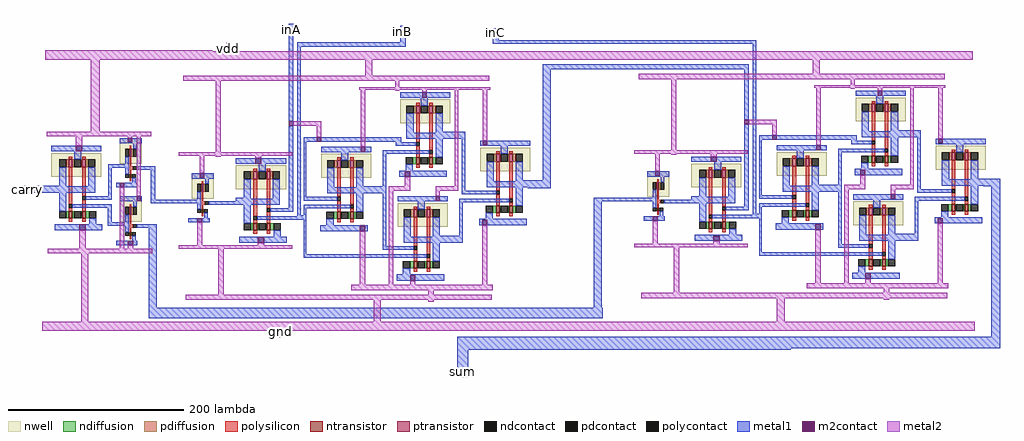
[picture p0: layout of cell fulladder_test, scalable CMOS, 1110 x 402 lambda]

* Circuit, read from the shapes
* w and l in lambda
.subckt fulladder_test carry gnd inA inB inC sum vdd
M1 n1 n2 carry VSUBS nfet w=8 l=4
M2 gnd n3 n1 VSUBS nfet w=8 l=4
M3 gnd n4 n2 VSUBS nfet w=4 l=2
M4 gnd n5 n3 VSUBS nfet w=4 l=2
M5 gnd n6 n5 VSUBS nfet w=4 l=2
M6 n7 inB n6 VSUBS nfet w=8 l=4
M7 gnd inA n7 VSUBS nfet w=8 l=4
M8 n8 inA gnd VSUBS nfet w=8 l=4
M9 n9 inB n8 VSUBS nfet w=8 l=4
M10 n10 n9 gnd VSUBS nfet w=8 l=4
M11 n11 inA gnd VSUBS nfet w=8 l=4
M12 n12 inB n10 VSUBS nfet w=8 l=4
M13 n13 n9 n11 VSUBS nfet w=8 l=4
M14 n14 n13 gnd VSUBS nfet w=8 l=4
M15 n15 n12 n14 VSUBS nfet w=8 l=4
M16 gnd n16 n4 VSUBS nfet w=4 l=2
M17 n17 inC n16 VSUBS nfet w=8 l=4
M18 gnd n15 n17 VSUBS nfet w=8 l=4
M19 n18 n15 gnd VSUBS nfet w=8 l=4
M20 n19 inC n18 VSUBS nfet w=8 l=4
M21 n20 n19 gnd VSUBS nfet w=8 l=4
M22 n21 n15 gnd VSUBS nfet w=8 l=4
M23 n22 inC n20 VSUBS nfet w=8 l=4
M24 n23 n19 n21 VSUBS nfet w=8 l=4
M25 n24 n23 gnd VSUBS nfet w=8 l=4
M26 sum n22 n24 VSUBS nfet w=8 l=4
M27 vdd n2 carry n25 pfet w=9 l=4
M28 carry n3 vdd n25 pfet w=9 l=4
M29 vdd n4 n2 n26 pfet w=9 l=2
M30 vdd n5 n3 n27 pfet w=9 l=2
M31 vdd n6 n5 n28 pfet w=9 l=2
M32 vdd inB n6 n29 pfet w=9 l=4
M33 n6 inA vdd n29 pfet w=9 l=4
M34 vdd inA n9 n30 pfet w=9 l=4
M35 n9 inB vdd n30 pfet w=9 l=4
M36 vdd n9 n12 n31 pfet w=9 l=4
M37 vdd inA n13 n32 pfet w=9 l=4
M38 n12 inB vdd n31 pfet w=9 l=4
M39 n13 n9 vdd n32 pfet w=9 l=4
M40 vdd n13 n15 n33 pfet w=9 l=4
M41 n15 n12 vdd n33 pfet w=9 l=4
M42 vdd n16 n4 n34 pfet w=9 l=2
M43 vdd inC n16 n35 pfet w=9 l=4
M44 n16 n15 vdd n35 pfet w=9 l=4
M45 vdd n15 n19 n36 pfet w=9 l=4
M46 n19 inC vdd n36 pfet w=9 l=4
M47 vdd n19 n22 n37 pfet w=9 l=4
M48 vdd n15 n23 n38 pfet w=9 l=4
M49 n22 inC vdd n37 pfet w=9 l=4
M50 n23 n19 vdd n38 pfet w=9 l=4
M51 vdd n23 sum n39 pfet w=9 l=4
M52 sum n22 vdd n39 pfet w=9 l=4
.ends

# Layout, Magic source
magic
tech scmos
<< metal1 >>
rect 295 384 301 397
rect 422 382 428 395
rect 527 381 534 392
rect -6 205 2 213
rect 487 -5 499 7
<< metal2 >>
rect 224 362 229 376
rect 283 40 288 54
use fulladder  fulladder_0
transform 1 0 166 0 1 81
box -168 -81 938 308
<< labels >>
rlabel metal1 295 384 301 397 1 inA
rlabel metal1 422 382 428 395 1 inB
rlabel metal1 527 381 534 392 1 inC
rlabel metal1 487 -5 499 7 1 sum
rlabel metal1 -6 205 2 213 3 carry
rlabel metal2 224 362 229 376 1 vdd
rlabel metal2 283 40 288 54 1 gnd
<< end >>

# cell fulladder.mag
magic
tech scmos
<< metal1 >>
rect 129 259 134 308
rect 256 295 262 308
rect 139 290 262 295
rect 361 297 368 306
rect 361 293 661 297
rect 139 259 143 290
rect 418 264 652 270
rect 657 264 661 293
rect -168 124 -147 132
rect -28 116 -23 154
rect 418 138 427 264
rect 411 129 427 138
rect 927 131 938 140
rect -28 112 2 116
rect 476 114 519 118
rect -30 -7 -21 88
rect 476 -7 485 114
rect -30 -19 486 -7
rect 928 -40 938 131
rect 321 -53 938 -40
rect 321 -55 700 -53
rect 321 -81 333 -55
<< metal2 >>
rect -148 285 42 286
rect -148 275 907 285
rect -96 189 -86 275
rect 216 251 224 275
rect 725 254 733 275
rect -107 -23 -99 57
rect 226 -23 234 4
rect 684 -23 693 8
rect -151 -33 909 -23
use or  or_0
transform -1 0 -34 0 1 130
box -9 -75 115 63
use halfadder  halfadder_0
transform 1 0 174 0 1 5
box -174 -5 241 260
use halfadder  halfadder_1
transform 1 0 692 0 1 7
box -174 -5 241 260
<< end >>

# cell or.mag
magic
tech scmos
<< metal1 >>
rect -9 20 1 24
rect 38 -10 42 26
rect 104 -6 115 2
rect 38 -14 52 -10
rect 38 -23 50 -19
rect -9 -46 1 -42
rect 38 -44 43 -23
<< m2contact >>
rect 15 51 20 56
rect 72 41 79 47
rect 24 0 29 5
rect 5 -16 10 -10
rect 68 -49 75 -42
rect 14 -66 20 -61
<< metal2 >>
rect -7 58 112 63
rect 5 -10 10 58
rect 15 56 20 58
rect 72 47 79 58
rect 14 -70 20 -66
rect 24 -70 29 0
rect 68 -70 75 -49
rect -8 -75 111 -70
use inverter  inverter_0
transform 1 0 4 0 1 27
box -4 -27 36 29
use inverter  inverter_1
transform 1 0 4 0 1 -39
box -4 -27 36 29
use nand  nand_0
transform 1 0 77 0 1 15
box -28 -64 30 32
<< end >>

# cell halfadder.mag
magic
tech scmos
<< metal1 >>
rect -45 200 -40 260
rect -45 97 -40 195
rect -35 93 -31 260
rect -35 92 -25 93
rect -41 88 -25 92
<< m2contact >>
rect -45 195 -40 200
rect -13 177 -8 182
<< metal2 >>
rect -165 246 183 252
rect -128 160 -122 246
rect 76 235 81 246
rect -40 195 -8 200
rect -13 182 -8 195
rect -125 3 -119 59
rect 114 3 120 14
rect -162 -3 186 3
rect 114 -5 120 -3
use and  and_0
transform -1 0 -44 0 1 47
box -3 8 130 118
use xor  xor_0
transform 1 0 -6 0 1 60
box -22 -52 247 179
<< end >>

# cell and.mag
magic
tech scmos
<< metal1 >>
rect 59 58 86 62
rect 120 60 130 64
rect -3 50 7 54
rect -3 41 7 45
<< m2contact >>
rect 32 105 39 111
rect 97 89 102 94
rect 99 38 105 43
rect 29 15 36 21
<< metal2 >>
rect -3 114 126 118
rect 32 111 39 114
rect 97 94 102 114
rect 29 12 36 15
rect 99 12 105 38
rect -3 8 126 12
use nand  nand_0
transform 1 0 31 0 1 79
box -28 -64 30 32
use inverter  inverter_0
transform 1 0 86 0 1 65
box -4 -27 36 29
<< end >>

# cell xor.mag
magic
tech scmos
<< metal1 >>
rect -22 117 89 122
rect 144 120 162 128
rect -22 54 -19 117
rect 83 112 89 117
rect 68 103 90 107
rect 68 66 72 103
rect 51 58 72 66
rect -22 50 15 54
rect -22 41 -1 45
rect -22 -11 -19 41
rect 68 -2 72 58
rect 158 61 162 120
rect 233 64 247 73
rect 158 57 180 61
rect 155 48 178 52
rect 155 10 159 48
rect 140 2 159 10
rect 68 -6 84 -2
rect -22 -15 85 -11
<< m2contact >>
rect 113 167 118 173
rect 43 105 48 111
rect 93 77 99 83
rect 42 15 48 21
rect 182 113 187 118
rect 128 50 133 55
rect 181 22 187 28
rect 99 -41 105 -35
<< metal2 >>
rect 41 176 190 179
rect 43 111 48 176
rect 113 173 118 176
rect 93 66 99 77
rect 150 66 154 176
rect 182 118 187 176
rect 75 61 99 66
rect 128 61 154 66
rect 42 -46 48 15
rect 75 -46 80 61
rect 128 55 133 61
rect 99 -46 105 -41
rect 181 -46 187 22
rect 32 -52 193 -46
use nand  nand_0
transform 1 0 25 0 1 79
box -28 -64 30 32
use nand  nand_1
transform 1 0 115 0 1 141
box -28 -64 30 32
use nand  nand_2
transform 1 0 112 0 1 23
box -28 -64 30 32
use nand  nand_3
transform 1 0 206 0 1 86
box -28 -64 30 32
<< end >>

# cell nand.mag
magic
tech scmos
<< nwell >>
rect -27 -3 30 24
<< ntransistor >>
rect -9 -50 -5 -42
rect 6 -50 10 -42
<< ptransistor >>
rect -9 8 -5 17
rect 6 8 10 17
<< ndiffusion >>
rect -13 -50 -9 -42
rect -5 -50 -4 -42
rect 4 -50 6 -42
rect 10 -50 13 -42
<< pdiffusion >>
rect -12 8 -9 17
rect -5 8 -4 17
rect 4 8 6 17
rect 10 8 13 17
<< ndcontact >>
rect -21 -50 -13 -42
rect -4 -50 4 -42
rect 13 -50 21 -42
<< pdcontact >>
rect -20 8 -12 17
rect -4 8 4 17
rect 13 8 21 17
<< polysilicon >>
rect -9 17 -5 20
rect 6 17 10 20
rect -9 -25 -5 8
rect -9 -42 -5 -29
rect 6 -34 10 8
rect 6 -42 10 -38
rect -9 -54 -5 -50
rect 6 -54 10 -50
<< polycontact >>
rect -9 -29 -5 -25
rect 6 -38 10 -34
<< metal1 >>
rect -27 26 30 32
rect -4 17 4 26
rect -20 -14 -12 8
rect 13 -13 21 8
rect 13 -14 30 -13
rect -20 -21 30 -14
rect -28 -29 -9 -25
rect -28 -38 6 -34
rect 13 -42 21 -21
rect -21 -57 -13 -50
rect -28 -64 26 -57
<< end >>

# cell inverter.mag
magic
tech scmos
<< nwell >>
rect 0 0 25 29
<< ntransistor >>
rect 12 -16 14 -12
<< ptransistor >>
rect 12 8 14 17
<< ndiffusion >>
rect 11 -16 12 -12
rect 14 -16 15 -12
<< pdiffusion >>
rect 10 8 12 17
rect 14 8 15 17
<< ndcontact >>
rect 7 -16 11 -12
rect 15 -16 19 -12
<< pdcontact >>
rect 6 8 10 17
rect 15 8 19 17
<< polysilicon >>
rect 12 17 14 20
rect 12 -3 14 8
rect 10 -7 14 -3
rect 12 -12 14 -7
rect 12 -20 14 -16
<< polycontact >>
rect 6 -7 10 -3
<< metal1 >>
rect 0 23 25 29
rect 6 17 10 23
rect 15 -1 19 8
rect -4 -7 6 -3
rect 15 -5 36 -1
rect 15 -12 19 -5
rect 7 -22 11 -16
rect 5 -27 29 -22
<< end >>
